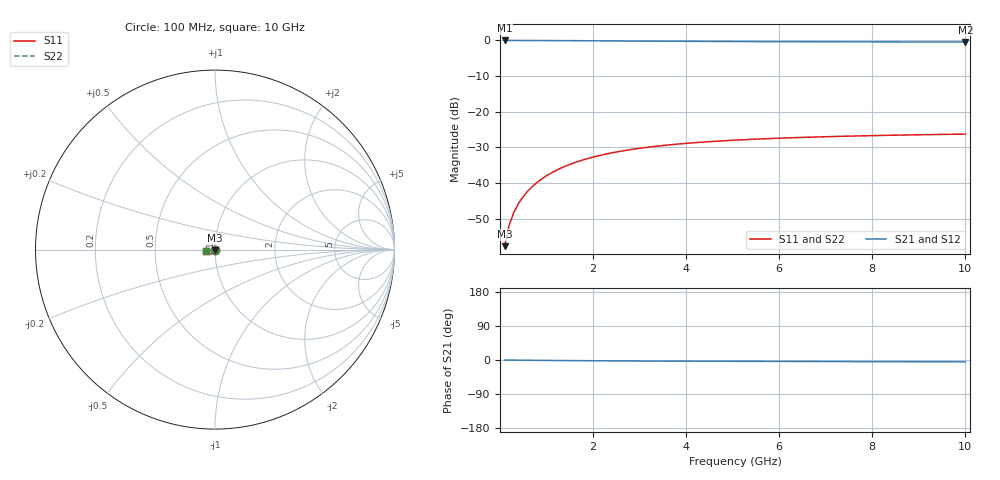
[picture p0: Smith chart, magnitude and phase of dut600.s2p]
! Touchstone file exported from HFSS 2024.1.0
!  File:  C:/UserFiles/LocalFiles/RDL_TSV_Batchsim/temp_TSV1_600_1779787428.aedt
!  Generated:  05:28:23 PM May 26, 2026
!  Design:  TSV1
!  Project:  temp_TSV1_600_1779787428
!  Setup:  Setup1
!  Solution:  Sweep
! Variables:
!  dtsv = 11.02um
!  hbump = 3um
!  htsv = 75.6um
!  lrdl = 252.1521522um
!  p = 40
!  p1 = 45.35um
!  t = 500um
!  trdl = 3um
!  wrdl = 24.89489489um
# GHz S MA R 50.000000
! Terminal data exported
! Port[1] = TSV22_T1
! Port[2] = TSV22_T2
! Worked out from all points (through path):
!   100 points, 100 MHz to 10 GHz, reference 50 ohm
!   highest |S21| = 0.00 dB at 100 MHz (marker M1); lowest = -0.4 dB at 10 GHz (marker M2)
!   lowest |S11| = -57.7 dB at 100 MHz (marker M3), VSWR 1.00, Z = 50 - j0.13 ohm
!   |S11| at or under -10 dB: start of sweep to end of sweep
!   |S22| runs from -57.7 to -26.3 dB; largest |S21 - S12| = 3.4e-15
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0.1  0.001306 -86.5  0.9998 -0.1  0.9998 -0.1  0.001306 -86.5
! Gamma 0 0 0 0
! Port Impedance 50 0 50 0
0.2  0.002606 -90.5  0.9997 -0.2  0.9997 -0.2  0.002606 -90.5
0.3  0.003906 -92.9  0.9995 -0.4  0.9995 -0.4  0.003906 -92.9
0.4  0.005203 -94.9  0.9992 -0.5  0.9992 -0.5  0.005203 -94.9
0.5  0.006491 -96.7  0.9989 -0.6  0.9989 -0.6  0.006491 -96.7
0.6  0.007766 -98.5  0.9985 -0.7  0.9985 -0.7  0.007766 -98.5
0.7  0.009026 -100.2  0.998 -0.8  0.998 -0.8  0.009026 -100.2
0.8  0.01027 -101.9  0.9975 -0.9  0.9975 -0.9  0.01027 -101.9
0.9  0.01149 -103.5  0.9969 -1.0  0.9969 -1.0  0.01149 -103.5
1.1  0.01386 -106.7  0.9956 -1.2  0.9956 -1.2  0.01386 -106.7
1.4  0.01721 -111.2  0.9934 -1.5  0.9934 -1.5  0.01721 -111.2
1.6  0.01931 -114.1  0.9918 -1.7  0.9918 -1.7  0.01931 -114.1
1.8  0.02129 -116.8  0.9901 -1.9  0.9901 -1.9  0.02129 -116.8
2.1  0.02403 -120.7  0.9875 -2.1  0.9875 -2.1  0.02403 -120.7
2.5  0.02728 -125.5  0.984 -2.4  0.984 -2.4  0.02728 -125.5
2.9  0.0301 -129.8  0.9806 -2.6  0.9806 -2.6  0.0301 -129.8
3.4  0.03311 -134.6  0.9766 -2.8  0.9766 -2.8  0.03311 -134.6
4.2  0.03693 -141.2  0.9711 -3.2  0.9711 -3.2  0.03693 -141.2
5.1  0.04017 -147.4  0.966 -3.5  0.966 -3.5  0.04017 -147.4
6.7  0.04413 -156.0  0.9593 -3.9  0.9593 -3.9  0.04413 -156.0
8.4  0.04687 -163.1  0.9546 -4.4  0.9546 -4.4  0.04686 -163.1
10  0.04867 -168.5  0.9514 -4.9  0.9514 -4.9  0.04867 -168.5
